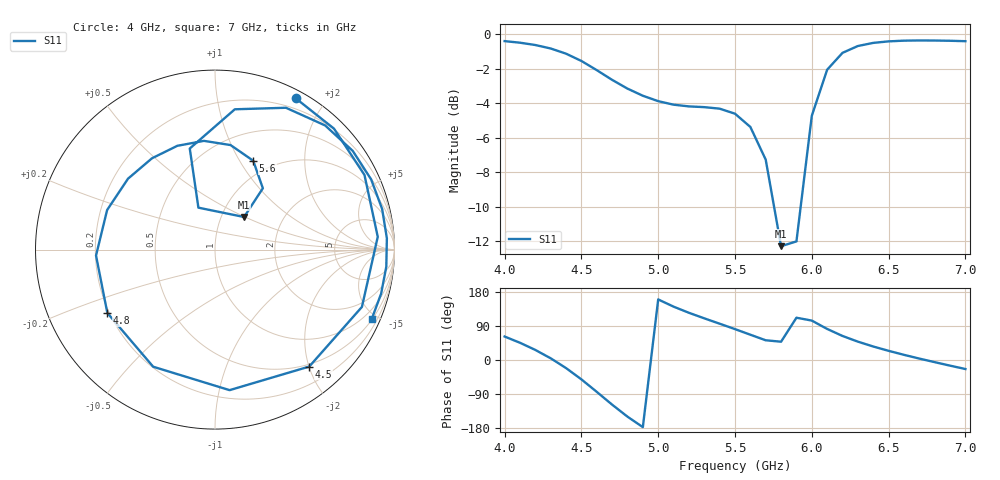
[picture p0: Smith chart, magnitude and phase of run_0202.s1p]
! Touchstone file exported from HFSS 2024.2.0
!  File:  C:/Users/wsak9/Desktop/Sim Fast/Widenad Patch/WP_AI_V1_sweep.aedt
!  Generated:  11:24:25 PM Oct 13, 2026
!  Design:  A1_model
!  Project:  WP_AI_V1_sweep
!  Setup:  Setup1
!  Solution:  Sweep
! Variables:
!  Air_gap = 3.74mm
!  Curve_Amp1 = 1
!  Curve_len1 = 1
!  Curve_pos = 10.775mm
!  Extra = 6.67mm
!  H_sub = 0.79mm
!  L_Patch = 17.55mm
!  L_Patch1 = 17.22mm
!  Sx = 4.37mm
!  Sy = 3.75mm
!  WS = 0.22mm
!  W_Patch = 14.69mm
!  W_Patch1 = 10.55mm
!Data is not renormalized
# GHz S MA
! Terminal data exported
! Port[1] = 1
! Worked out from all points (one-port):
!   31 points, 4 GHz to 7 GHz, reference per port
!   lowest |S11| = -12.3 dB at 5.8 GHz (marker M1), VSWR 1.64
!   |S11| at or under -10 dB: 5.755 GHz to 5.927 GHz (172.8 MHz wide, 2.96 % of centre)
!   S11 on the Smith chart (normalised r, x): 4 GHz: 0.09, +1.66; 4.5 GHz: 0.46, -2.00; 4.8 GHz: 0.19, -0.26; 5.6 GHz: 0.82, +1.15; 7 GHz: 0.53, -4.68
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4  0.9554 61.9
4.1  0.9454 45.5
4.2  0.9309 26.5
4.3  0.9096 4.5
4.4  0.8787 -21.3
4.5  0.8369 -51.1
4.6  0.7873 -84.1
4.7  0.7379 -117.8
4.8  0.696 -149.5
4.9  0.6637 -177.1
5  0.6402 159.8
5.1  0.6253 140.8
5.2  0.6181 124.6
5.4  0.6089 95.8
5.5  0.5888 81.5
5.6  0.539 66.7
5.7  0.4334 52.0
5.8  0.2434 48.2
5.9  0.2512 111.6
6  0.5805 104.0
6.1  0.7895 82.0
6.2  0.8836 63.4
6.3  0.9248 48.4
6.4  0.9441 35.6
6.5  0.9538 24.2
6.7  0.9596 3.8
6.8  0.9591 -5.7
7  0.955 -23.8
